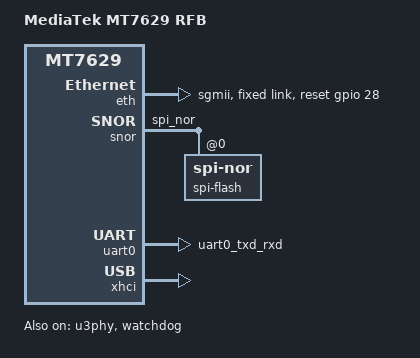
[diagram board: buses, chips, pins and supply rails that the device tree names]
/*
 * Copyright (C) 2018 MediaTek Inc.
 * Author: Ryder Lee <ryder.lee@mediatek.com>
 *
 * SPDX-License-Identifier: (GPL-2.0 OR MIT)
 */

/dts-v1/;
#include "mt7629.dtsi"
#include "mt7629-rfb-u-boot.dtsi"

/ {
	model = "MediaTek MT7629 RFB";
	compatible = "mediatek,mt7629-rfb", "mediatek,mt7629";

	aliases {
		spi0 = &snor;
	};

	chosen {
		stdout-path = &uart0;
	};
};

&eth {
	status = "okay";
	mediatek,gmac-id = <0>;
	phy-mode = "sgmii";
	mediatek,switch = "mt7531";
	reset-gpios = <&gpio 28 GPIO_ACTIVE_HIGH>;

	fixed-link {
		speed = <1000>;
		full-duplex;
	};
};

&pinctrl {
	state_default: pinmux_conf {
		u-boot,dm-pre-reloc;

		mux {
			function = "jtag";
			groups = "ephy_leds_jtag";
			u-boot,dm-pre-reloc;
		};
	};

	snfi_pins: snfi-pins {
		mux {
			function = "flash";
			groups = "snfi";
		};
	};

	snor_pins: snor-pins {
		mux {
			function = "flash";
			groups = "spi_nor";
		};
	};

	uart0_pins: uart0-default {
		mux {
			function = "uart";
			groups = "uart0_txd_rxd";
		};
	};

	watchdog_pins: watchdog-default {
		mux {
			function = "watchdog";
			groups = "watchdog";
		};
	};
};

&snfi {
	pinctrl-names = "default", "snfi";
	pinctrl-0 = <&snor_pins>;
	pinctrl-1 = <&snfi_pins>;
	status = "disabled";

	spi-flash@0{
		compatible = "jedec,spi-nor";
		reg = <0>;
		u-boot,dm-pre-reloc;
	};
};

&snor {
	pinctrl-names = "default";
	pinctrl-0 = <&snor_pins>;
	status = "okay";

	spi-flash@0{
		compatible = "jedec,spi-nor";
		reg = <0>;
		spi-tx-bus-width = <1>;
		spi-rx-bus-width = <4>;
		u-boot,dm-pre-reloc;
	};
};

&uart0 {
	pinctrl-names = "default";
	pinctrl-0 = <&uart0_pins>;
	status = "okay";
};

&xhci {
	status = "okay";
};

&u3phy {
	status = "okay";
};

&watchdog {
	pinctrl-names = "default";
	pinctrl-0 = <&watchdog_pins>;
	status = "okay";
};
